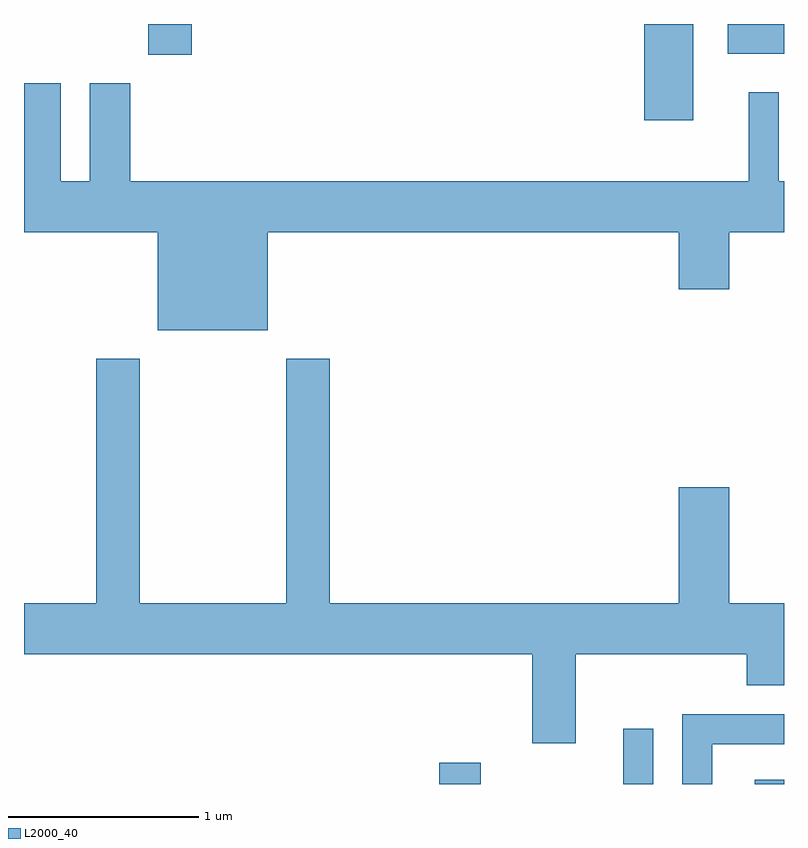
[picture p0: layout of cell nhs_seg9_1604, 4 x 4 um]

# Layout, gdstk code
import gdstk
lib = gdstk.Library(unit=1e-6, precision=1e-09)
def R(c, l, rs):  # rectangles x0, y0, x1, y1
    for r in rs: c.add(gdstk.rectangle(r[:2], r[2:], *l))
def P(c, l, *ps):  # polygons
    for p in ps: c.add(gdstk.Polygon(p, *l))
L2000_40 = (2000, 40)

nhs_seg9_1604 = lib.new_cell('nhs_seg9_1604')
R(nhs_seg9_1604, L2000_40, [(233.796,2024.432,234.014,2024.544), (234.766,2024.432,234.924,2024.723), (235.456,2024.432,235.611,2024.454), (234.876,2027.926,235.134,2028.432), (232.266,2028.271,232.494,2028.432), (235.316,2028.276,235.611,2028.432)])
P(nhs_seg9_1604, L2000_40, [(232.894,2027.336),(235.056,2027.336),(235.056,2027.036),(235.324,2027.036),(235.324,2027.336),(235.611,2027.336),(235.611,2027.604),(235.584,2027.604),(235.584,2028.073),(235.426,2028.073),(235.426,2027.604),(232.169,2027.604),(232.169,2028.119),(231.956,2028.119),(231.956,2027.604),(231.804,2027.604),(231.804,2028.119),(231.611,2028.119),(231.611,2027.336),(232.316,2027.336),(232.316,2026.821),(232.894,2026.821)],
  [(234.514,2025.116),(235.416,2025.116),(235.416,2024.951),(235.611,2024.951),(235.611,2025.384),(235.324,2025.384),(235.324,2025.994),(235.056,2025.994),(235.056,2025.384),(233.219,2025.384),(233.219,2026.669),(232.991,2026.669),(232.991,2025.384),(232.219,2025.384),(232.219,2026.669),(231.991,2026.669),(231.991,2025.384),(231.611,2025.384),(231.611,2025.116),(234.286,2025.116),(234.286,2024.646),(234.514,2024.646)],
  [(235.234,2024.641),(235.611,2024.641),(235.611,2024.799),(235.076,2024.799),(235.076,2024.432),(235.234,2024.432)])

lib.write_gds('nhs_seg9_1604.gds')
